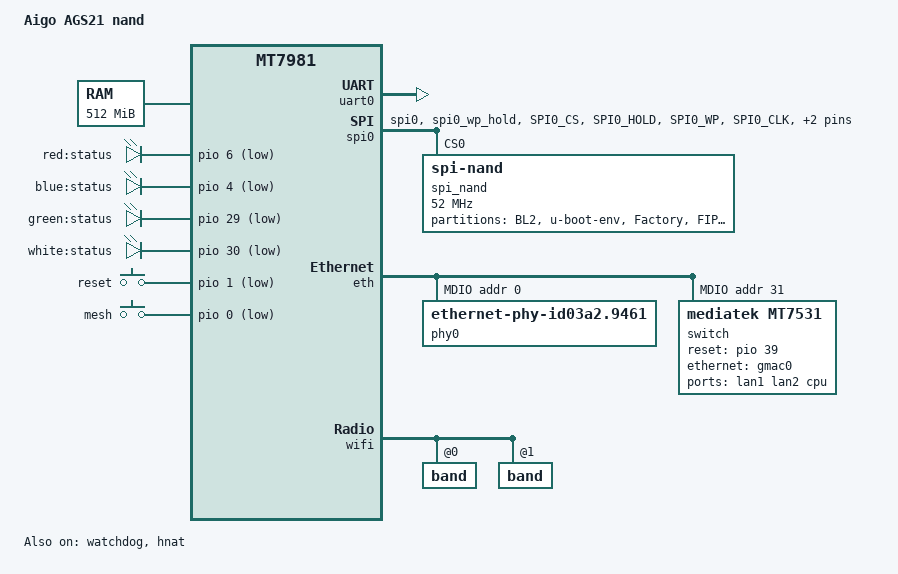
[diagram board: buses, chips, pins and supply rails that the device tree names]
// SPDX-License-Identifier: GPL-2.0-or-later OR MIT
/*
 * Author:dailook
 */

/dts-v1/;
#include <dt-bindings/gpio/gpio.h>
#include <dt-bindings/input/input.h>
#include <dt-bindings/leds/common.h>

#include "mt7981.dtsi"

/ {
	model = "Aigo AGS21 nand";
	compatible = "aigo,ags21-nand", "mediatek,mt7981";

	chosen: chosen {
		stdout-path = "serial0:115200n8";
	};

	aliases {
		label-mac-device = &gmac1;
		led-boot = &status_red_led;
		led-failsafe = &status_red_led;
		led-running = &status_blue_led;
		led-upgrade = &status_blue_led;
		serial0 = &uart0;
	};

	memory {
		reg = <0 0x40000000 0 0x20000000>;
	};

	leds {
		compatible = "gpio-leds";

		status_red_led: led-0 {
			label = "red:status";
			gpios = <&pio 6 GPIO_ACTIVE_LOW>;
		};

		status_blue_led: led-1 {
			label = "blue:status";
			gpios = <&pio 4 GPIO_ACTIVE_LOW>;
		};

		internet_led: led-2 {
			label = "green:status";
			gpios = <&pio 29 GPIO_ACTIVE_LOW>;
		};

		wifi_led: led-3 {
			label = "white:status";
			gpios = <&pio 30 GPIO_ACTIVE_LOW>;
		};
	};

	gpio-keys {
		compatible = "gpio-keys";
		reset {
			label = "reset";
			linux,code = <KEY_RESTART>;
			gpios = <&pio 1 GPIO_ACTIVE_LOW>;
		};

		mesh {
			label = "mesh";
			linux,code = <BTN_9>;
			gpios = <&pio 0 GPIO_ACTIVE_LOW>;
		};
	};
};

&uart0 {
	status = "okay";
};

&watchdog {
	status = "okay";
};

&spi0 {
	pinctrl-names = "default";
	pinctrl-0 = <&spi0_flash_pins>;
	status = "okay";

	spi_nand: flash@0 {
		#address-cells = <1>;
		#size-cells = <1>;
		compatible = "spi-nand";
		reg = <0>;

		spi-max-frequency = <52000000>;
		spi-tx-bus-width = <4>;
		spi-rx-bus-width = <4>;
		mediatek,nmbm;
		mediatek,bmt-max-ratio = <1>;
		mediatek,bmt-max-reserved-blocks = <64>;

		partitions: partitions {
			compatible = "fixed-partitions";
			#address-cells = <1>;
			#size-cells = <1>;

			partition@0 {
				label = "BL2";
				reg = <0x00000 0x100000>;
				read-only;
			};

			partition@100000 {
				label = "u-boot-env";
				reg = <0x100000 0x80000>;
			};

			factory: partition@180000 {
				label = "Factory";
				reg = <0x180000 0x200000>;

				compatible = "nvmem-cells";
				nvmem-layout {
					compatible = "fixed-layout";
					#address-cells = <1>;
					#size-cells = <1>;

					macaddr_factory_4: macaddr@4 {
						compatible = "mac-base";
						reg = <0x4 0x6>;
						#nvmem-cell-cells = <1>;
					};

					macaddr_factory_24: macaddr@24 {
						compatible = "mac-base";
						reg = <0x24 0x6>;
						#nvmem-cell-cells = <1>;
					};

					macaddr_factory_2a: macaddr@2a {
						compatible = "mac-base";
						reg = <0x2a 0x6>;
						#nvmem-cell-cells = <1>;
					};

					macaddr_factory_30: macaddr@30 {
						compatible = "mac-base";
						reg = <0x30 0x6>;
						#nvmem-cell-cells = <1>;
					};
				};
			};

			partition@380000 {
				label = "FIP";
				reg = <0x380000 0x200000>;
			};

			partition@580000 {
				label = "ubi";
				reg = <0x580000 0x7200000>;
			};
		};
	};
};

&eth {
	status = "okay";

	gmac0: mac@0 {
		compatible = "mediatek,eth-mac";
		reg = <0>;
		phy-mode = "2500base-x";
		
		nvmem-cells = <&macaddr_factory_2a 0>;
        nvmem-cell-names = "mac-address";
		
		fixed-link {
			speed = <2500>;
			full-duplex;
			pause;
		};
	};

	gmac1: mac@1 {
		compatible = "mediatek,eth-mac";
		reg = <1>;
		phy-mode = "gmii";
		phy-handle = <&int_gbe_phy>;

		nvmem-cells = <&macaddr_factory_24 0>;
		nvmem-cell-names = "mac-address";
	};

	mdio: mdio-bus {
		#address-cells = <1>;
		#size-cells = <0>;

		phy0: ethernet-phy@0 {
			compatible = "ethernet-phy-id03a2.9461";
			reg = <0>;
			phy-mode = "gmii";
			nvmem-cells = <&phy_calibration>;
			nvmem-cell-names = "phy-cal-data";
		};

		switch@0 {
			compatible = "mediatek,mt7531";
			reg = <31>;
			reset-gpios = <&pio 39 0>;

			ports {
				#address-cells = <1>;
				#size-cells = <0>;

				port@1 {
					reg = <1>;
					label = "lan1";
				};

				port@2 {
					reg = <2>;
					label = "lan2";
				};
				
				port@6 {
					reg = <6>;
					label = "cpu";
					ethernet = <&gmac0>;
					phy-mode = "2500base-x";

					fixed-link {
						speed = <2500>;
						full-duplex;
						pause;
					};
				};
			};
		};
	};
};

&hnat {
	mtketh-wan = "eth1";
	mtketh-lan = "lan";
	mtketh-max-gmac = <2>;
	status = "okay";
};

&pio {
	spi0_flash_pins: spi0-pins {
		mux {
			function = "spi";
			groups = "spi0", "spi0_wp_hold";
		};

		conf-pu {
			pins = "SPI0_CS", "SPI0_HOLD", "SPI0_WP";
			drive-strength = <MTK_DRIVE_8mA>;
			bias-pull-up = <MTK_PUPD_SET_R1R0_11>;
		};

		conf-pd {
			pins = "SPI0_CLK", "SPI0_MOSI", "SPI0_MISO";
			drive-strength = <MTK_DRIVE_8mA>;
			bias-pull-down = <MTK_PUPD_SET_R1R0_11>;
		};
	};
};

&wifi {
	status = "okay";
	
	band@0 {
		reg = <0>;
		nvmem-cells = <&macaddr_factory_4 0>;
		nvmem-cell-names = "mac-address";
	};

	band@1 {
		reg = <1>;
		nvmem-cells = <&macaddr_factory_30 0>;
		nvmem-cell-names = "mac-address";
	};
};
